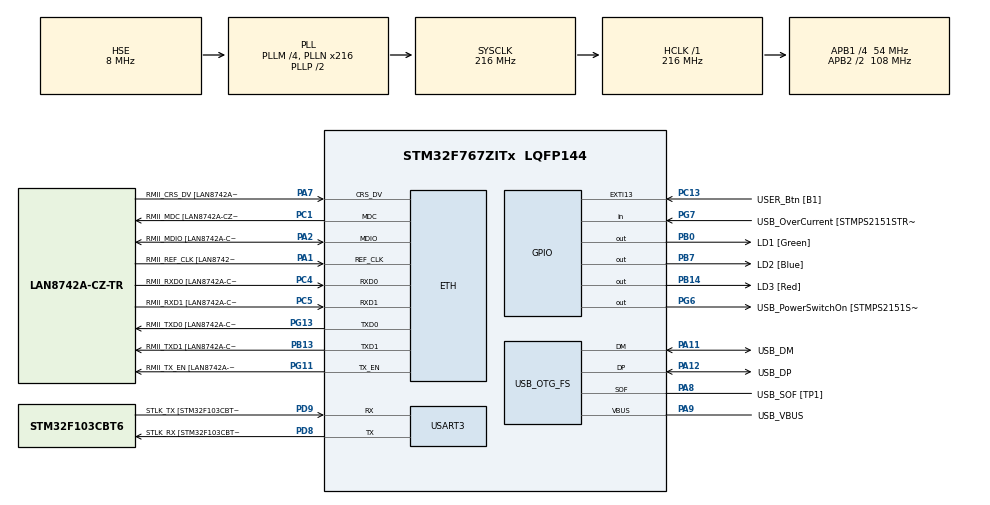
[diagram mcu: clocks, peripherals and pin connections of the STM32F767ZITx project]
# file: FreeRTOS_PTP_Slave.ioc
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Dma.Request0=USART3_RX
Dma.Request1=USART3_TX
Dma.USART3_RX.0.Direction=DMA_PERIPH_TO_MEMORY
Dma.USART3_RX.0.FIFOMode=DMA_FIFOMODE_DISABLE
Dma.USART3_RX.0.Instance=DMA1_Stream1
Dma.USART3_RX.0.MemDataAlignment=DMA_MDATAALIGN_BYTE
Dma.USART3_RX.0.MemInc=DMA_MINC_ENABLE
Dma.USART3_RX.0.Mode=DMA_NORMAL
Dma.USART3_RX.0.PeriphDataAlignment=DMA_PDATAALIGN_BYTE
Dma.USART3_RX.0.PeriphInc=DMA_PINC_DISABLE
Dma.USART3_RX.0.Priority=DMA_PRIORITY_LOW
Dma.USART3_TX.1.Direction=DMA_MEMORY_TO_PERIPH
Dma.USART3_TX.1.FIFOMode=DMA_FIFOMODE_DISABLE
Dma.USART3_TX.1.Instance=DMA1_Stream3
Dma.USART3_TX.1.MemDataAlignment=DMA_MDATAALIGN_BYTE
Dma.USART3_TX.1.MemInc=DMA_MINC_ENABLE
Dma.USART3_TX.1.Mode=DMA_NORMAL
Dma.USART3_TX.1.PeriphDataAlignment=DMA_PDATAALIGN_BYTE
Dma.USART3_TX.1.PeriphInc=DMA_PINC_DISABLE
Dma.USART3_TX.1.Priority=DMA_PRIORITY_LOW
ETH.ETH_RX_DESC_CNT=16
ETH.ETH_TX_DESC_CNT=4
ETH.MediaInterface=HAL_ETH_RMII_MODE
FREERTOS.Tasks01=PTP_Task,41,1024,StartPTPTask,Default,NULL,Dynamic,NULL,NULL;Log_Task,8,1024,StartLogTask,Default,NULL,Dynamic,NULL,NULL
FREERTOS.configCHECK_FOR_STACK_OVERFLOW=2
FREERTOS.configTOTAL_HEAP_SIZE=65536
FREERTOS.configUSE_NEWLIB_REENTRANT=1
Mcu.Family=STM32F7
Mcu.Name=STM32F767ZITx
Mcu.Package=LQFP144
NVIC.DMA1_Stream1_IRQn=true\:5\:0\:false\:false\:true\:true\:false\:true\:true
NVIC.DMA1_Stream3_IRQn=true\:5\:0\:false\:false\:true\:true\:false\:true\:true
NVIC.ETH_IRQn=true\:5\:0\:false\:false\:true\:true\:true\:true\:true
NVIC.PriorityGroup=NVIC_PRIORITYGROUP_4
NVIC.TIM6_DAC_IRQn=true\:15\:0\:false\:false\:true\:false\:false\:true\:true
NVIC.TimeBase=TIM6_DAC_IRQn
NVIC.TimeBaseIP=TIM6
PA1.GPIO_Label=RMII_REF_CLK [LAN8742A-CZ-TR_REFCLK0]
PA1.Mode=RMII
PA1.Signal=ETH_REF_CLK
PA10.GPIO_Label=USB_ID
PA10.Signal=USB_OTG_FS_ID
PA11.GPIO_Label=USB_DM
PA11.Mode=Device_Only
PA11.Signal=USB_OTG_FS_DM
PA12.GPIO_Label=USB_DP
PA12.Mode=Device_Only
PA12.Signal=USB_OTG_FS_DP
PA13.GPIO_Label=TMS
PA13.Mode=Serial_Wire
PA13.Signal=SYS_JTMS-SWDIO
PA14.GPIO_Label=TCK
PA14.Mode=Serial_Wire
PA14.Signal=SYS_JTCK-SWCLK
PA2.GPIO_Label=RMII_MDIO [LAN8742A-CZ-TR_MDIO]
PA2.Mode=RMII
PA2.Signal=ETH_MDIO
PA7.GPIO_Label=RMII_CRS_DV [LAN8742A-CZ-TR_CRS_DV]
PA7.Mode=RMII
PA7.Signal=ETH_CRS_DV
PA8.GPIO_Label=USB_SOF [TP1]
PA8.Mode=Activate_SOF_FS
PA8.Signal=USB_OTG_FS_SOF
PA9.GPIO_Label=USB_VBUS
PA9.Mode=Activate_VBUS
PA9.Signal=USB_OTG_FS_VBUS
PB0.GPIO_Label=LD1 [Green]
PB0.Signal=GPIO_Output
PB13.GPIO_Label=RMII_TXD1 [LAN8742A-CZ-TR_TXD1]
PB13.Mode=RMII
PB13.Signal=ETH_TXD1
PB14.GPIO_Label=LD3 [Red]
PB14.Signal=GPIO_Output
PB3.GPIO_Label=SWO
PB3.Signal=SYS_JTDO-SWO
PB5.Signal=ETH_PPS_OUT
PB7.GPIO_Label=LD2 [Blue]
PB7.Signal=GPIO_Output
PC1.GPIO_Label=RMII_MDC [LAN8742A-CZ-TR_MDC]
PC1.Mode=RMII
PC1.Signal=ETH_MDC
PC13.GPIO_Label=USER_Btn [B1]
PC13.Signal=GPXTI13
PC14/OSC32_IN.Mode=LSE-External-Oscillator
PC14/OSC32_IN.Signal=RCC_OSC32_IN
PC15/OSC32_OUT.Mode=LSE-External-Oscillator
PC15/OSC32_OUT.Signal=RCC_OSC32_OUT
PC4.GPIO_Label=RMII_RXD0 [LAN8742A-CZ-TR_RXD0]
PC4.Mode=RMII
PC4.Signal=ETH_RXD0
PC5.GPIO_Label=RMII_RXD1 [LAN8742A-CZ-TR_RXD1]
PC5.Mode=RMII
PC5.Signal=ETH_RXD1
PD8.GPIO_Label=STLK_RX [STM32F103CBT6_PA3]
PD8.Mode=Asynchronous
PD8.Signal=USART3_TX
PD9.GPIO_Label=STLK_TX [STM32F103CBT6_PA2]
PD9.Mode=Asynchronous
PD9.Signal=USART3_RX
PG11.GPIO_Label=RMII_TX_EN [LAN8742A-CZ-TR_TXEN]
PG11.Mode=RMII
PG11.Signal=ETH_TX_EN
PG13.GPIO_Label=RMII_TXD0 [LAN8742A-CZ-TR_TXD0]
PG13.Mode=RMII
PG13.Signal=ETH_TXD0
PG6.GPIO_Label=USB_PowerSwitchOn [STMPS2151STR_EN]
PG6.Signal=GPIO_Output
PG7.GPIO_Label=USB_OverCurrent [STMPS2151STR_FAULT]
PG7.Signal=GPIO_Input
PH0/OSC_IN.GPIO_Label=MCO [STM32F103CBT6_PA8]
PH0/OSC_IN.Mode=HSE-External-Clock-Source
PH0/OSC_IN.Signal=RCC_OSC_IN
PH1/OSC_OUT.Mode=HSE-External-Clock-Source
PH1/OSC_OUT.Signal=RCC_OSC_OUT
ProjectManager.HeapSize=0x200
ProjectManager.StackSize=0x400
ProjectManager.TargetToolchain=STM32CubeIDE
RCC.48MHZClocksFreq_Value=24000000
RCC.AHBFreq_Value=216000000
RCC.APB1CLKDivider=RCC_HCLK_DIV4
RCC.APB1Freq_Value=54000000
RCC.APB1TimFreq_Value=108000000
RCC.APB2CLKDivider=RCC_HCLK_DIV2
RCC.APB2Freq_Value=108000000
RCC.APB2TimFreq_Value=216000000
RCC.CortexFreq_Value=216000000
RCC.HCLKFreq_Value=216000000
RCC.HSE_VALUE=8000000
RCC.HSI_VALUE=16000000
RCC.PLLM=4
RCC.PLLMUL=RCC_PLL_MUL9
RCC.PLLN=216
RCC.PLLQ=9
RCC.PRESCALERUSB=RCC_USBCLKSOURCE_PLL_DIV1_5
RCC.SYSCLKFreq_VALUE=216000000
RCC.SYSCLKSource=RCC_SYSCLKSOURCE_PLLCLK
RCC.SYSCLKSourceVirtual=RCC_SYSCLKSOURCE_PLLCLK
RCC.USBFreq_Value=48000000
RCC.VCOOutputFreq_Value=432000000
USART3.VirtualMode-Asynchronous=VM_ASYNC
USB_OTG_FS.VirtualMode=Device_Only
VP_FREERTOS_VS_CMSIS_V2.Mode=CMSIS_V2
VP_SYS_VS_tim6.Mode=TIM6
board=NUCLEO-F767ZI

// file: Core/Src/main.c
/* USER CODE BEGIN Header */
/**
  ******************************************************************************
  * @file           : main.c
  * @brief          : Main program body
  ******************************************************************************
  * @attention
  *
  * Copyright (c) 2026 STMicroelectronics.
  * All rights reserved.
  *
  * This software is licensed under terms that can be found in the LICENSE file
  * in the root directory of this software component.
  * If no LICENSE file comes with this software, it is provided AS-IS.
  *
  ******************************************************************************
  */
/* USER CODE END Header */
#include "main.h"
#include "string.h"
#include "cmsis_os.h"

/* USER CODE BEGIN Includes */
#include <stdio.h>
#include "FreeRTOS.h"
#include "task.h"
/* USER CODE END Includes */

/* USER CODE BEGIN PTD */
typedef struct
{
    uint8_t  pending;
    uint16_t seq_id;
    uint32_t sec;
    uint32_t nsec;
} PTP_RxTimestampEvent;

typedef struct
{
    uint8_t  pending;
    uint16_t seq_id;
    uint32_t sec;
    uint32_t nsec;
} PTP_FollowUpEvent;

typedef struct
{
    uint8_t  pending;
    uint16_t seq_id;
    uint32_t sec;
    uint32_t nsec;
    uint8_t  requesting_port_identity[10];
} PTP_DelayRespEvent;
/* USER CODE END PTD */

/* USER CODE BEGIN PD */
//#define SLAVE_ID_LAST_BYTE                  0x00U //Slave 1
#define SLAVE_ID_LAST_BYTE                  0x02U //Slave 2
//don't use 01 for slave. It is master's number

#define PTP_SYNC                               0U
#define PTP_DELAY_REQ                          1U
#define PTP_FOLLOW_UP                          8U
#define PTP_DELAY_RESP                         9U

#define ETH_RX_BUFFER_SIZE                     1524U
#define PTP_WAIT_LOOP                          1000000UL

#define PTP_HCLK_HZ                            216000000ULL
#define PTP_SUBSEC_INCREMENT_NS                5ULL
#define PTP_ENABLE_FINE_MODE                   1U

#define PTP_NS_PER_SEC                         1000000000ULL
#define PTP_SUBSEC_PER_SEC                     0x80000000ULL

/*
 * Coarse phase correction:
 * keep a rare bounded time step only for clearly abnormal offsets.
 * Fine locking is handled by the PI controller through addend.
 */
#define PTP_PHASE_COARSE_ENTER_NS        20000000LL   /* 20 ms */
#define PTP_PHASE_COARSE_EXIT_NS          2000000LL   /* 2 ms */
#define PTP_PHASE_HARD_STEP_LIMIT_NS      5000000LL   /* 5 ms */
#define PTP_PHASE_HOLDOFF_CYCLES                2U

/*
 * PI servo is tuned for Sync/Delay cycle ~250 ms.
 * If you later change Sync period significantly, retune KP/KI.
 *
 * Output is expressed in ppb and converted into addend target:
 *   target_addend = default_addend * (1 + control_ppb / 1e9)
 */
#define PTP_PI_NOMINAL_CYCLE_NS           125000000LL   /* 125 ms */
#define PTP_PI_OFFSET_DEADBAND_NS                30LL

#define PTP_PI_KP_NUM                            1LL
#define PTP_PI_KP_DEN                           40LL      /* 0.025 ppb/ns */

#define PTP_PI_KI_NUM                            1LL
#define PTP_PI_KI_DEN                         2500LL      /* 0.0005 ppb/ns/sample */

#define PTP_PI_INTEGRAL_LIMIT_PPB           40000LL
#define PTP_PI_OUTPUT_LIMIT_PPB             50000LL

#define PTP_PI_FRAC_BITS                       10U
#define PTP_PI_SCALE                           (1LL << PTP_PI_FRAC_BITS)   /* 1024 */

#define PTP_FREQ_MIN_CYCLE_NS              100000000LL
#define PTP_FREQ_ADDEND_STEP_MAX               2000LL
#define PTP_FREQ_ADDEND_OFFSET_MAX          1000000LL

/*
 * Fine phase capture:
 * when frequency is already close to lock, but a small residual phase error
 * remains for several cycles, apply a tiny time update to pull phase to zero.
 */
#define PTP_ENABLE_FINE_PHASE_CAPTURE          0U
#define PTP_FINE_PHASE_LOCK_PPB               200LL
#define PTP_FINE_PHASE_CAPTURE_THRESHOLD_NS   800LL
#define PTP_FINE_PHASE_CAPTURE_CLEAR_NS       250LL
#define PTP_FINE_PHASE_CAPTURE_MAX_NS        3000LL
#define PTP_FINE_PHASE_CAPTURE_CYCLES          20U
#define PTP_FINE_PHASE_CAPTURE_NUM              1LL
#define PTP_FINE_PHASE_CAPTURE_DEN              4LL
#define PTP_FINE_PHASE_CAPTURE_LIMIT_NS        75LL
#define PTP_FINE_PHASE_HOLDOFF_CYCLES          48U

#define PTP_STATIC_OFFSET_BIAS_NS   0LL

/*
 * Reject bad measurement samples before they affect the servo.
 * These thresholds are intentionally conservative for the current direct-link setup.
 */
//For SINGLECAST
//#define PTP_REJECT_MPD_MIN_NS                -500LL
//#define PTP_REJECT_MPD_MAX_NS                1000LL
//For MULTICAST
#define PTP_REJECT_MPD_MIN_NS                6000LL
#define PTP_REJECT_MPD_MAX_NS                10000LL

#define PTP_REJECT_FINE_OFFSET_ABS_NS     3000000LL   /* 3 ms */
#define PTP_REJECT_FINE_OFFSET_DELTA_NS    200000LL   /* 200 us jump vs previous good sample */

#define PTP_CONSECUTIVE_REJECT_LIMIT          64U

#define PTP_DELAYREQ_TIMEOUT_MS              100U

#define APP_CPU_LOAD_ENABLE              0U

/*
 * Safe artificial CPU load.
 * This is NOT exact percent load.
 * It performs a bounded amount of dummy work every N milliseconds.
 *
 * Start with 100 or 200.
 * Then test 500, 1000, 2000, etc.
 */
#define APP_CPU_LOAD_PERIOD_MS           1U
#define APP_CPU_LOAD_WORK_ITERATIONS     1U

/* USER CODE END PD */

#if defined ( __ICCARM__ ) /*!< IAR Compiler */
#pragma location=0x2007c000
ETH_DMADescTypeDef  DMARxDscrTab[ETH_RX_DESC_CNT]; /* Ethernet Rx DMA Descriptors */
#pragma location=0x2007c0a0
ETH_DMADescTypeDef  DMATxDscrTab[ETH_TX_DESC_CNT]; /* Ethernet Tx DMA Descriptors */

#elif defined ( __CC_ARM )  /* MDK ARM Compiler */

__attribute__((at(0x2007c000))) ETH_DMADescTypeDef  DMARxDscrTab[ETH_RX_DESC_CNT]; /* Ethernet Rx DMA Descriptors */
__attribute__((at(0x2007c0a0))) ETH_DMADescTypeDef  DMATxDscrTab[ETH_TX_DESC_CNT]; /* Ethernet Tx DMA Descriptors */

#elif defined ( __GNUC__ ) /* GNU Compiler */

ETH_DMADescTypeDef DMARxDscrTab[ETH_RX_DESC_CNT] __attribute__((section(".RxDecripSection"))); /* Ethernet Rx DMA Descriptors */
ETH_DMADescTypeDef DMATxDscrTab[ETH_TX_DESC_CNT] __attribute__((section(".TxDecripSection")));   /* Ethernet Tx DMA Descriptors */
#endif

ETH_TxPacketConfig TxConfig;

ETH_HandleTypeDef heth;

UART_HandleTypeDef huart3;
DMA_HandleTypeDef hdma_usart3_rx;
DMA_HandleTypeDef hdma_usart3_tx;

PCD_HandleTypeDef hpcd_USB_OTG_FS;

/* Definitions for PTP_Task */
osThreadId_t PTP_TaskHandle;
const osThreadAttr_t PTP_Task_attributes = {
  .name = "PTP_Task",
  .stack_size = 1024 * 4,
  .priority = (osPriority_t) osPriorityHigh1,
};
/* Definitions for Log_Task */
osThreadId_t Log_TaskHandle;
const osThreadAttr_t Log_Task_attributes = {
  .name = "Log_Task",
  .stack_size = 1024 * 4,
  .priority = (osPriority_t) osPriorityLow,
};
/* USER CODE BEGIN PV */
uint8_t Rx_Buff[ETH_RX_DESC_CNT][ETH_RX_BUFFER_SIZE];
uint8_t delay_req_frame[58];

static const uint8_t g_slave_mac[6] =
{
    0x00, 0x80, 0xE1, 0x00, 0x00, SLAVE_ID_LAST_BYTE
};

static const uint8_t g_ptp_multicast_mac[6] =
{
    0x01, 0x1B, 0x19, 0x00, 0x00, 0x00
};

static const uint8_t g_slave_port_identity[10] =
{
    0x00, 0x80, 0xE1, 0xFF, 0xFE, 0x00, 0x00, SLAVE_ID_LAST_BYTE,
    0x00, 0x01
};

volatile uint32_t sec;
volatile uint32_t nsec;

volatile uint8_t  ptp_synced = 0U;
volatile uint8_t  sync_received = 0U;
volatile uint8_t  delayreq_pending = 0U;
volatile uint8_t  delayreq_tx_ts_waiting = 0U;
volatile uint8_t  ptp_request_delayreq = 0U;

volatile uint32_t ptp_delayreq_sent_ms = 0U;
volatile uint32_t ptp_delayreq_timeout_count = 0U;
volatile uint32_t ptp_delayresp_ignored_count = 0U;

volatile uint16_t sync_seq_id = 0U;
volatile uint16_t delayreq_seq_id = 0U;

volatile uint32_t follow_sec = 0U;
volatile uint32_t follow_nsec = 0U;
volatile uint32_t sync_rx_sec = 0U;
volatile uint32_t sync_rx_nsec = 0U;
volatile uint32_t tx_t3_sec = 0U;
volatile uint32_t tx_t3_nsec = 0U;
volatile uint32_t resp_t4_sec = 0U;
volatile uint32_t resp_t4_nsec = 0U;

volatile uint16_t delayreq_ref_sync_seq_id = 0U;
volatile uint32_t delayreq_ref_t1_sec = 0U;
volatile uint32_t delayreq_ref_t1_nsec = 0U;
volatile uint32_t delayreq_ref_t2_sec = 0U;
volatile uint32_t delayreq_ref_t2_nsec = 0U;

volatile int64_t t1 = 0;
volatile int64_t t2 = 0;
volatile int64_t t3 = 0;
volatile int64_t t4 = 0;

volatile int64_t delta_sync = 0;
volatile int64_t delta_delay = 0;
volatile int64_t mean_path_delay = 0;
volatile int64_t ptp_offset_e2e = 0;
volatile int64_t ptp_offset = 0;
volatile int32_t ptp_offset_ns = 0;
volatile int64_t offset_avg = 0; /* reused as filtered offset for PI */

volatile uint32_t delayresp_count = 0U;
volatile uint32_t tx_ts_seen = 0U;
volatile uint32_t sync_rx_ts_valid_count = 0U;

volatile uint32_t ptp_default_addend = 0U;
volatile uint32_t ptp_current_addend = 0U;
volatile uint32_t ptp_addend_update_count = 0U;
volatile uint32_t ptp_reg_timeout_count = 0U;
volatile uint32_t ptp_tx_req_fail_count = 0U;
volatile int64_t  ptp_last_update_ns = 0;

volatile PTP_RxTimestampEvent g_sync_evt = {0};
volatile PTP_FollowUpEvent    g_follow_evt = {0};
volatile PTP_DelayRespEvent   g_delayresp_evt = {0};

static uint32_t delayreq_tx_desc_idx = 0U;

volatile uint8_t  ptp_freq_servo_locked = 0U;

volatile int64_t  ptp_master_time_prev = 0;
volatile int64_t  ptp_slave_time_prev  = 0;
volatile int64_t  ptp_master_count     = 0;
volatile int64_t  ptp_slave_count      = 0;
volatile int64_t  ptp_clock_diff       = 0;
volatile int64_t  ptp_freq_err_ppb     = 0;
volatile int64_t  ptp_last_addend_step = 0;

volatile int64_t  ptp_pi_integral_ppb  = 0;
volatile int64_t  ptp_pi_prop_ppb      = 0;
volatile int64_t  ptp_pi_output_ppb    = 0;
volatile int64_t  ptp_pi_integral_scaled = 0;

volatile uint32_t ptp_freq_update_count = 0U;
volatile uint32_t ptp_phase_step_count  = 0U;
volatile uint8_t  ptp_phase_holdoff     = 0U;
volatile uint8_t  ptp_coarse_mode      = 1U;

volatile uint8_t  ptp_phase_capture_count      = 0U;
volatile uint32_t ptp_phase_capture_step_count = 0U;

static char ptp_log_buf[448];
static uint32_t ptp_last_logged_delayresp = 0U;

volatile int64_t  ptp_raw_offset_e2e           = 0;
volatile int64_t  ptp_last_good_raw_offset_e2e = 0;
volatile uint8_t  ptp_have_good_sample         = 0U;

volatile uint8_t  ptp_last_sample_rejected     = 0U;
volatile uint32_t ptp_rejected_sample_count    = 0U;
volatile uint32_t ptp_reject_mpd_count         = 0U;
volatile uint32_t ptp_reject_abs_offset_count  = 0U;
volatile uint32_t ptp_reject_jump_count        = 0U;

volatile uint32_t ptp_consecutive_reject_count = 0U;
volatile uint32_t ptp_resync_count = 0U;

volatile uint32_t app_cpu_load_run_count = 0U;
volatile uint32_t app_cpu_load_sink = 0U;

static uint32_t app_cpu_load_last_ms = 0U;
/* USER CODE END PV */

void SystemClock_Config(void);
static void MX_GPIO_Init(void);
static void MX_DMA_Init(void);
static void MX_ETH_Init(void);
static void MX_USART3_UART_Init(void);
static void MX_USB_OTG_FS_PCD_Init(void);
void StartPTPTask(void *argument);
void StartLogTask(void *argument);

/* USER CODE BEGIN PFP */
static void PTP_HW_Init(void);
static void PTP_Process(void);
static void PTP_SendDelayReq(void);
static void PTP_BuildDelayReqFrame(uint8_t *frame, uint16_t seq_id);
static uint8_t PTP_WaitRegBitClear(volatile uint32_t *reg, uint32_t mask, uint32_t loops);
static uint32_t PTP_NsToSubsec(uint32_t ns_val);
static uint32_t PTP_UpdateLowFromNs(uint32_t ns_val, uint8_t negative);
static uint32_t PTP_CalcDefaultAddend(void);
static uint8_t PTP_ApplyAddend(uint32_t addend);
static uint8_t PTP_ApplyTimeInitialize(uint32_t sec_val, uint32_t nsec_val);
static uint8_t PTP_ApplyTimeUpdateNs(int64_t corr_ns);
static uint32_t PTP_ParseSecondsLow32(const uint8_t *ts);
static uint32_t PTP_ParseNanoseconds(const uint8_t *ts);
static int64_t  PTP_ToNs(uint32_t sec_val, uint32_t nsec_val);
static void PTP_ServoReset(void);
static int64_t  PTP_Abs64(int64_t v);
static uint8_t  PTP_ApplyAddendFiltered(int64_t delta_addend);
static void PTP_UpdateFrequencyServo(int64_t master_time_now, int64_t slave_time_now);
static void PTP_FineServoRearm(void);
static int64_t  PTP_ScaledToPpb(int64_t scaled_ppb);
static void PTP_LogSampleIfReady(void);
static void PTP_CheckDelayReqTimeout(void);
static void PTP_HandleRxFrame(ETH_HandleTypeDef *heth_local, uint8_t *buf);
static void PTP_ForceResync(void);
static void ETH_SetMacAddressFilter1(const uint8_t *mac);

static void APP_RunCpuLoad(void);
/* USER CODE END PFP */

/* USER CODE BEGIN 0 */

static void PTP_ForceResync(void)
{
    __disable_irq();
    g_sync_evt.pending = 0U;
    g_follow_evt.pending = 0U;
    g_delayresp_evt.pending = 0U;
    __enable_irq();

    ptp_synced = 0U;
    sync_received = 0U;

    delayreq_pending = 0U;
    delayreq_tx_ts_waiting = 0U;
    ptp_request_delayreq = 0U;

    ptp_delayreq_sent_ms = 0U;

    tx_t3_sec = 0U;
    tx_t3_nsec = 0U;

    delayreq_ref_sync_seq_id = 0U;
    delayreq_ref_t1_sec = 0U;
    delayreq_ref_t1_nsec = 0U;
    delayreq_ref_t2_sec = 0U;
    delayreq_ref_t2_nsec = 0U;

    offset_avg = 0;
    ptp_coarse_mode = 1U;

    PTP_ServoReset();

    ptp_consecutive_reject_count = 0U;
    ptp_resync_count++;
}

static void PTP_CheckDelayReqTimeout(void)
{
    if (delayreq_pending == 0U)
    {
        return;
    }

    if ((uint32_t)(HAL_GetTick() - ptp_delayreq_sent_ms) < PTP_DELAYREQ_TIMEOUT_MS)
    {
        return;
    }

    /*
     * Delay_Req was sent, but matching Delay_Resp did not arrive in time.
     * Drop this exchange and wait for the next Sync/Follow_Up cycle.
     */
    delayreq_pending = 0U;
    delayreq_tx_ts_waiting = 0U;
    ptp_request_delayreq = 0U;

    tx_t3_sec = 0U;
    tx_t3_nsec = 0U;

    delayreq_ref_sync_seq_id = 0U;
    delayreq_ref_t1_sec = 0U;
    delayreq_ref_t1_nsec = 0U;
    delayreq_ref_t2_sec = 0U;
    delayreq_ref_t2_nsec = 0U;

    ptp_delayreq_timeout_count++;
}

static uint8_t PTP_WaitRegBitClear(volatile uint32_t *reg, uint32_t mask, uint32_t loops)
{
    while (((*reg) & mask) != 0U)
    {
        if (loops-- == 0U)
        {
            ptp_reg_timeout_count++;
            return 0U;
        }
    }
    return 1U;
}

static uint32_t PTP_NsToSubsec(uint32_t ns_val)
{
    uint64_t tmp;

    if (ns_val >= 1000000000UL)
    {
        ns_val = 999999999UL;
    }

    tmp = ((uint64_t)ns_val * PTP_SUBSEC_PER_SEC + (PTP_NS_PER_SEC / 2ULL)) / PTP_NS_PER_SEC;
    if (tmp > 0x7FFFFFFFULL)
    {
        tmp = 0x7FFFFFFFULL;
    }

    return (uint32_t)tmp;
}

static uint32_t PTP_UpdateLowFromNs(uint32_t ns_val, uint8_t negative)
{
    uint32_t low = PTP_NsToSubsec(ns_val) & 0x7FFFFFFFUL;

    if (negative != 0U)
    {
        low |= 0x80000000UL;
    }

    return low;
}

static uint32_t PTP_CalcDefaultAddend(void)
{
    const uint64_t num = (1ULL << 32) * 1000000000ULL;
    const uint64_t den = PTP_HCLK_HZ * PTP_SUBSEC_INCREMENT_NS;
    return (uint32_t)(num / den);
}

static uint8_t PTP_ApplyAddend(uint32_t addend)
{
    if (!PTP_WaitRegBitClear(&ETH->PTPTSCR, ETH_PTPTSCR_TSARU, PTP_WAIT_LOOP))
    {
        return 0U;
    }

    ETH->PTPTSAR = addend;
    ETH->PTPTSCR |= ETH_PTPTSCR_TSARU;

    if (!PTP_WaitRegBitClear(&ETH->PTPTSCR, ETH_PTPTSCR_TSARU, PTP_WAIT_LOOP))
    {
        return 0U;
    }

    ptp_current_addend = addend;
    ptp_addend_update_count++;
    return 1U;
}

static uint8_t PTP_ApplyTimeInitialize(uint32_t sec_val, uint32_t nsec_val)
{
    uint32_t low;

    if (!PTP_WaitRegBitClear(&ETH->PTPTSCR, ETH_PTPTSCR_TSSTI | ETH_PTPTSCR_TSSTU, PTP_WAIT_LOOP))
    {
        return 0U;
    }

    low = PTP_UpdateLowFromNs(nsec_val, 0U);

    ETH->PTPTSHUR = sec_val;
    ETH->PTPTSLUR = low;
    ptp_last_update_ns = 0;

    ETH->PTPTSCR |= ETH_PTPTSCR_TSSTI;

    return PTP_WaitRegBitClear(&ETH->PTPTSCR, ETH_PTPTSCR_TSSTI, PTP_WAIT_LOOP);
}

static uint8_t PTP_ApplyTimeUpdateNs(int64_t corr_ns)
{
    uint32_t sec_upd;
    uint32_t nsec_mag;
    uint8_t negative;
    uint32_t low;

    if (corr_ns == 0)
    {
        return 1U;
    }

    if (!PTP_WaitRegBitClear(&ETH->PTPTSCR, ETH_PTPTSCR_TSSTI | ETH_PTPTSCR_TSSTU, PTP_WAIT_LOOP))
    {
        return 0U;
    }

    sec_upd = 0U;
    nsec_mag = 0U;
    negative = 0U;

    if (corr_ns < 0)
    {
        int64_t mag = -corr_ns;
        sec_upd  = (uint32_t)(mag / 1000000000LL);
        nsec_mag = (uint32_t)(mag % 1000000000LL);
        negative = 1U;
    }
    else
    {
        sec_upd  = (uint32_t)(corr_ns / 1000000000LL);
        nsec_mag = (uint32_t)(corr_ns % 1000000000LL);
    }

    low = PTP_UpdateLowFromNs(nsec_mag, negative);

    ETH->PTPTSHUR = sec_upd;
    ETH->PTPTSLUR = low;
    ptp_last_update_ns = corr_ns;

    ETH->PTPTSCR |= ETH_PTPTSCR_TSSTU;

    return PTP_WaitRegBitClear(&ETH->PTPTSCR, ETH_PTPTSCR_TSSTU, PTP_WAIT_LOOP);
}

static int64_t PTP_ToNs(uint32_t sec_val, uint32_t nsec_val)
{
    return ((int64_t)sec_val * 1000000000LL) + (int64_t)nsec_val;
}

static uint32_t PTP_ParseSecondsLow32(const uint8_t *ts)
{
    return ((uint32_t)ts[2] << 24) |
           ((uint32_t)ts[3] << 16) |
           ((uint32_t)ts[4] << 8)  |
           ((uint32_t)ts[5]);
}

static uint32_t PTP_ParseNanoseconds(const uint8_t *ts)
{
    return ((uint32_t)ts[6] << 24) |
           ((uint32_t)ts[7] << 16) |
           ((uint32_t)ts[8] << 8)  |
           ((uint32_t)ts[9]);
}

static void ETH_SetMacAddressFilter1(const uint8_t *mac)
{
    /*
     * MAC address filter slot 1.
     * Address byte order follows STM32 ETH MACA register layout:
     * MACA1LR = bytes 0..3
     * MACA1HR = bytes 4..5 + AE bit
     */
    ETH->MACA1LR =
        ((uint32_t)mac[0])       |
        ((uint32_t)mac[1] << 8)  |
        ((uint32_t)mac[2] << 16) |
        ((uint32_t)mac[3] << 24);

    ETH->MACA1HR =
        ((uint32_t)mac[4])      |
        ((uint32_t)mac[5] << 8) |
        (1UL << 31);            /* AE: address enable */
}

static void PTP_HW_Init(void)
{
    uint32_t ptptscr = 0U;

    //ETH->MACFFR |= ETH_MACFFR_RA | ETH_MACFFR_PM;
    //ETH->MACFFR &= ~(ETH_MACFFR_RA | ETH_MACFFR_PM);
    //ETH->MACFFR |= ETH_MACFFR_PAM;
    ETH->MACFFR &= ~(ETH_MACFFR_RA | ETH_MACFFR_PM | ETH_MACFFR_PAM);
    ETH_SetMacAddressFilter1(g_ptp_multicast_mac);

    ETH->MACIMR |= (1UL << 9);
    ETH->PTPSSIR = (uint32_t)PTP_SUBSEC_INCREMENT_NS;

    ptptscr |= ETH_PTPTSCR_TSE;
    ptptscr |= ETH_PTPTSCR_TSPTPPSV2E;
    ptptscr |= ETH_PTPTSCR_TSSPTPOEFE;
    ptptscr |= ETH_PTPTSCR_TSSSR;
    ptptscr |= ETH_PTPTSCR_TSSARFE;
#if PTP_ENABLE_FINE_MODE
    ptptscr |= ETH_PTPTSCR_TSFCU;
#endif
    ETH->PTPTSCR = ptptscr;

    ptp_default_addend = PTP_CalcDefaultAddend();
    ptp_current_addend = ptp_default_addend;
#if PTP_ENABLE_FINE_MODE
    (void)PTP_ApplyAddend(ptp_default_addend);
#endif

    (void)PTP_ApplyTimeInitialize(0U, 0U);
}

static void PTP_BuildDelayReqFrame(uint8_t *frame, uint16_t seq_id)
{
    memset(frame, 0, 58U);

    frame[0]  = 0x01;
    frame[1]  = 0x1B;
    frame[2]  = 0x19;
    frame[3]  = 0x00;
    frame[4]  = 0x00;
    frame[5]  = 0x00;

    memcpy(&frame[6], g_slave_mac, 6U);

    frame[12] = 0x88;
    frame[13] = 0xF7;

    frame[14] = 0x01;
    frame[15] = 0x02;

    frame[16] = 0x00;
    frame[17] = 44U;

    frame[18] = 0x00;
    frame[19] = 0x00;

    frame[20] = 0x00;
    frame[21] = 0x00;

    memcpy(&frame[34], g_slave_port_identity, 10U);

    frame[44] = (uint8_t)((seq_id >> 8) & 0xFFU);
    frame[45] = (uint8_t)(seq_id & 0xFFU);

    frame[46] = 0x01;
    frame[47] = 0x7F;
}

static void PTP_SendDelayReq(void)
{
    ETH_BufferTypeDef txBuffer;
    ETH_DMADescTypeDef *txdesc;
    uint32_t *td;
    uint16_t seq;

    TxConfig.Attributes   = ETH_TX_PACKETS_FEATURES_CRCPAD;
    TxConfig.ChecksumCtrl = ETH_CHECKSUM_DISABLE;
    TxConfig.CRCPadCtrl   = ETH_CRC_PAD_INSERT;

    seq = ++delayreq_seq_id;
    PTP_BuildDelayReqFrame(delay_req_frame, seq);

    txBuffer.buffer = delay_req_frame;
    txBuffer.len    = sizeof(delay_req_frame);
    txBuffer.next   = NULL;

    TxConfig.Length   = sizeof(delay_req_frame);
    TxConfig.TxBuffer = &txBuffer;

    delayreq_tx_desc_idx = heth.TxDescList.CurTxDesc;
    txdesc = (ETH_DMADescTypeDef *)heth.TxDescList.TxDesc[delayreq_tx_desc_idx];
    td = (uint32_t *)txdesc;
    td[0] |= (1UL << 25);

    tx_t3_sec  = 0U;
    tx_t3_nsec = 0U;

    if (HAL_ETH_Transmit_IT(&heth, &TxConfig) == HAL_OK)
    {
        delayreq_pending = 1U;
        delayreq_tx_ts_waiting = 1U;
        ptp_delayreq_sent_ms = HAL_GetTick();
    }
    else
    {
        ptp_tx_req_fail_count++;
    }
}

static uint8_t PTP_TryReadTxTimestamp(void)
{
    ETH_DMADescTypeDef *txdesc;
    uint32_t *td;

    if (delayreq_tx_ts_waiting == 0U)
    {
        return 0U;
    }

    txdesc = (ETH_DMADescTypeDef *)heth.TxDescList.TxDesc[delayreq_tx_desc_idx];
    td = (uint32_t *)txdesc;

    if ((td[0] & (1UL << 31)) == 0U)
    {
        if ((td[0] & (1UL << 17)) != 0U)
        {
            tx_t3_nsec = td[6];
            tx_t3_sec  = td[7];
            tx_ts_seen++;
            delayreq_tx_ts_waiting = 0U;
            return 1U;
        }
    }

    return 0U;
}

static void PTP_Process(void)
{
    if (g_sync_evt.pending != 0U)
    {
        sync_seq_id   = g_sync_evt.seq_id;
        sync_rx_sec   = g_sync_evt.sec;
        sync_rx_nsec  = g_sync_evt.nsec;
        sync_received = 1U;
        g_sync_evt.pending = 0U;
    }

    if (g_follow_evt.pending != 0U)
    {
        follow_sec  = g_follow_evt.sec;
        follow_nsec = g_follow_evt.nsec;

        if ((g_follow_evt.seq_id == sync_seq_id) && (sync_received != 0U))
        {
            if (ptp_synced == 0U)
            {
                if (PTP_ApplyTimeInitialize(follow_sec, follow_nsec) != 0U)
                {
                    ptp_synced = 1U;
                    offset_avg = 0;
                    ptp_coarse_mode = 1U;
                    PTP_ServoReset();
                }
            }

            /*
             * Freeze the exact Sync/Follow_Up pair that will be used for the
             * upcoming Delay_Req exchange.
             *
             * This prevents a later Sync from overwriting t2 while we are still
             * waiting for the Delay_Resp of the previous exchange.
             */
            if ((ptp_synced != 0U) &&
                (delayreq_pending == 0U) &&
                (ptp_request_delayreq == 0U))
            {
                delayreq_ref_sync_seq_id = sync_seq_id;

                delayreq_ref_t1_sec  = follow_sec;
                delayreq_ref_t1_nsec = follow_nsec;

                delayreq_ref_t2_sec  = sync_rx_sec;
                delayreq_ref_t2_nsec = sync_rx_nsec;

                ptp_request_delayreq = 1U;
            }

            /*
             * This Sync/Follow_Up pair has been consumed.
             * A new Delay_Req must only use a new matched pair.
             */
            sync_received = 0U;
        }

        g_follow_evt.pending = 0U;
    }

    if ((ptp_request_delayreq != 0U) && (delayreq_pending == 0U))
    {
        ptp_request_delayreq = 0U;
        PTP_SendDelayReq();
    }

    if (g_delayresp_evt.pending != 0U)
    {
        resp_t4_sec  = g_delayresp_evt.sec;
        resp_t4_nsec = g_delayresp_evt.nsec;

        if ((delayreq_pending != 0U) &&
            (g_delayresp_evt.seq_id == delayreq_seq_id) &&
            (memcmp((const void *)g_delayresp_evt.requesting_port_identity,
                    g_slave_port_identity,
                    10U) == 0))
        {
            delayresp_count++;
            delayreq_pending = 0U;
            ptp_delayreq_sent_ms = 0U;

            if (((tx_t3_sec != 0U) || (tx_t3_nsec != 0U)) && (delayreq_tx_ts_waiting == 0U))
            {
                int64_t master_time_now;
                int64_t slave_time_now;
                int64_t corr;
                int64_t raw_offset_e2e;

                t1 = PTP_ToNs(delayreq_ref_t1_sec, delayreq_ref_t1_nsec);
                t2 = PTP_ToNs(delayreq_ref_t2_sec, delayreq_ref_t2_nsec);
                t3 = PTP_ToNs(tx_t3_sec, tx_t3_nsec);
                t4 = PTP_ToNs(resp_t4_sec, resp_t4_nsec);

                delta_sync  = t2 - t1;
                delta_delay = t4 - t3;

                mean_path_delay = ((t2 - t1) + (t4 - t3)) / 2LL;
                raw_offset_e2e  = ((t2 - t1) - (t4 - t3)) / 2LL;
                ptp_raw_offset_e2e = raw_offset_e2e;
                ptp_last_sample_rejected = 0U;

                {
                    uint8_t reject_sample = 0U;
                    int64_t abs_raw_offset = PTP_Abs64(raw_offset_e2e);

                    /* 1) Reject impossible path delay values */
                    if ((mean_path_delay < PTP_REJECT_MPD_MIN_NS) ||
                        (mean_path_delay > PTP_REJECT_MPD_MAX_NS))
                    {
                        reject_sample = 1U;
                        ptp_reject_mpd_count++;
                    }
                    /*
                     * 2) In fine mode, reject absurd samples only while they are still inside
                     * the fine-regime envelope. If the offset is large enough to justify coarse
                     * re-entry, do NOT reject it here — let the hysteresis logic handle it.
                     */
                    else if ((ptp_coarse_mode == 0U) &&
                             (abs_raw_offset > PTP_REJECT_FINE_OFFSET_ABS_NS))
                    {
                        reject_sample = 1U;
                        ptp_reject_abs_offset_count++;
                    }
                    /*
                     * 3) Same for sudden jumps vs previous accepted sample:
                     * only reject while still below the coarse re-entry threshold.
                     */
                    else if ((ptp_coarse_mode == 0U) &&
                             (ptp_have_good_sample != 0U) &&
                             (PTP_Abs64(raw_offset_e2e - ptp_last_good_raw_offset_e2e) > PTP_REJECT_FINE_OFFSET_DELTA_NS))
                    {
                        reject_sample = 1U;
                        ptp_reject_jump_count++;
                    }

                    if (reject_sample != 0U)
                    {
                        ptp_rejected_sample_count++;
                        ptp_last_sample_rejected = 1U;

                        if (ptp_consecutive_reject_count < 0xFFFFFFFFUL)
                        {
                            ptp_consecutive_reject_count++;
                        }

                        if (ptp_consecutive_reject_count >= PTP_CONSECUTIVE_REJECT_LIMIT)
                        {
                            PTP_ForceResync();

                            /*
                             * PTP_ForceResync() calls PTP_ServoReset(), which clears this flag.
                             * Restore it so the current logged sample still shows rejection.
                             */
                            ptp_last_sample_rejected = 1U;
                        }

                        g_delayresp_evt.pending = 0U;
                        return;
                    }
                }

                ptp_last_good_raw_offset_e2e = raw_offset_e2e;
                ptp_have_good_sample = 1U;

                ptp_consecutive_reject_count = 0U;

                ptp_offset_e2e = raw_offset_e2e + PTP_STATIC_OFFSET_BIAS_NS;
                ptp_offset     = ptp_offset_e2e;
                ptp_offset_ns  = (int32_t)ptp_offset_e2e;

                /* filtered offset used by PI servo and preserved in logs */
                offset_avg = (offset_avg * 7LL + ptp_offset_e2e) / 8LL;

                master_time_now = t1 + mean_path_delay;
                slave_time_now  = t2;

                /* Rare bounded hard step only for clearly abnormal phase errors. */
                {
                    int64_t abs_offset = PTP_Abs64(ptp_offset_e2e);

                    /* hysteresis for coarse/fine handoff */
                    if (ptp_coarse_mode == 0U)
                    {
                        if (abs_offset > PTP_PHASE_COARSE_ENTER_NS)
                        {
                            ptp_coarse_mode = 1U;
                            PTP_ServoReset();
                            offset_avg = 0;
                        }
                    }
                    else
                    {
                        if (abs_offset < PTP_PHASE_COARSE_EXIT_NS)
                        {
                            ptp_coarse_mode = 0U;
                            PTP_ServoReset();
                            offset_avg = 0;
                            ptp_phase_holdoff = PTP_PHASE_HOLDOFF_CYCLES;
                        }
                    }

                    if (ptp_coarse_mode != 0U)
                    {
                        int64_t step_mag;

                        /*
                         * Coarse mode must not jump "to zero" directly, otherwise it can overshoot
                         * and bounce around zero forever without ever entering the fine region.
                         *
                         * Instead, move only enough to land near the fine-entry band.
                         */
                        step_mag = abs_offset - (PTP_PHASE_COARSE_EXIT_NS / 2LL);

                        if (step_mag < 0)
                        {
                            step_mag = 0;
                        }

                        if (step_mag > PTP_PHASE_HARD_STEP_LIMIT_NS)
                        {
                            step_mag = PTP_PHASE_HARD_STEP_LIMIT_NS;
                        }

                        if (ptp_offset_e2e > 0)
                        {
                            corr = -step_mag;
                        }
                        else
                        {
                            corr = step_mag;
                        }

                        if ((corr != 0) && (PTP_ApplyTimeUpdateNs(corr) != 0U))
                        {
                            ptp_phase_step_count++;
                            ptp_last_update_ns = corr;
                            PTP_ServoReset();
                            offset_avg = 0;
                        }
                    }
                    else
                    {
                        int64_t abs_offset_avg = PTP_Abs64(offset_avg);

                        if (ptp_phase_holdoff != 0U)
                        {
                            ptp_phase_holdoff--;
                            ptp_phase_capture_count = 0U;
                        }
                        else
                        {
                            /* frequency servo keeps local rate aligned to master */
                            PTP_UpdateFrequencyServo(master_time_now, slave_time_now);

                    #if PTP_ENABLE_FINE_PHASE_CAPTURE
                            /* optional fine phase capture */
                            if ((PTP_Abs64(ptp_freq_err_ppb) < PTP_FINE_PHASE_LOCK_PPB) &&
                                (abs_offset_avg > PTP_FINE_PHASE_CAPTURE_THRESHOLD_NS) &&
                                (abs_offset_avg < PTP_FINE_PHASE_CAPTURE_MAX_NS))
                            {
                                if (ptp_phase_capture_count < 255U)
                                {
                                    ptp_phase_capture_count++;
                                }
                            }
                            else
                            {
                                if ((abs_offset_avg < PTP_FINE_PHASE_CAPTURE_CLEAR_NS) ||
                                    (PTP_Abs64(ptp_freq_err_ppb) >= PTP_FINE_PHASE_LOCK_PPB))
                                {
                                    ptp_phase_capture_count = 0U;
                                }
                            }

                            if (ptp_phase_capture_count >= PTP_FINE_PHASE_CAPTURE_CYCLES)
                            {
                                corr = -(offset_avg * PTP_FINE_PHASE_CAPTURE_NUM) / PTP_FINE_PHASE_CAPTURE_DEN;

                                if (corr > PTP_FINE_PHASE_CAPTURE_LIMIT_NS)
                                {
                                    corr = PTP_FINE_PHASE_CAPTURE_LIMIT_NS;
                                }
                                else if (corr < -PTP_FINE_PHASE_CAPTURE_LIMIT_NS)
                                {
                                    corr = -PTP_FINE_PHASE_CAPTURE_LIMIT_NS;
                                }

                                if ((corr != 0) && (PTP_ApplyTimeUpdateNs(corr) != 0U))
                                {
                                    ptp_last_update_ns = corr;
                                    ptp_phase_step_count++;
                                    ptp_phase_capture_step_count++;
                                    ptp_phase_capture_count = 0U;
                                    offset_avg = 0;
                                    ptp_phase_holdoff = PTP_FINE_PHASE_HOLDOFF_CYCLES;

                                    /* keep learned addend bias, just re-arm frequency estimator */
                                    PTP_FineServoRearm();
                                }
                            }
                    #else
                            ptp_phase_capture_count = 0U;
                            (void)abs_offset_avg;
                    #endif
                        }
                    }
                }
            }
        }
        else
        {
            ptp_delayresp_ignored_count++;
        }

        g_delayresp_evt.pending = 0U;
    }
}

void HAL_ETH_RxAllocateCallback(uint8_t **buff)
{
    static uint32_t idx = 0U;

    *buff = Rx_Buff[idx];

    idx++;
    if (idx >= ETH_RX_DESC_CNT)
    {
        idx = 0U;
    }
}

void HAL_ETH_RxLinkCallback(void **pStart, void **pEnd, uint8_t *buff, uint16_t len)
{
    (void)len;

    if (*pStart == NULL)
    {
        *pStart = buff;
    }
    else
    {
        *(uint8_t **)(*pEnd) = buff;
    }

    *pEnd = buff;
}

void HAL_ETH_TxFreeCallback(uint32_t *buff)
{
    (void)buff;
}

static void PTP_HandleRxFrame(ETH_HandleTypeDef *heth_local, uint8_t *buf)
{
    uint16_t eth_type;
    uint8_t  ptp_message;
    uint16_t ptp_seq_id;
    uint32_t rx_sec;
    uint32_t rx_nsec;
    uint32_t idx;
    ETH_DMADescTypeDef *desc;
    uint32_t *d;
    uint8_t rx_hw_valid = 0U;
    uint32_t rx_hw_sec = 0U;
    uint32_t rx_hw_nsec = 0U;

    eth_type = ((uint16_t)buf[12] << 8) | buf[13];
    rx_sec   = ETH->PTPTSHR;
    rx_nsec  = ETH->PTPTSLR;

    if (eth_type != 0x88F7U)
    {
        return;
    }

    ptp_message = buf[14] & 0x0FU;
    ptp_seq_id  = ((uint16_t)buf[44] << 8) | buf[45];

    idx = heth_local->RxDescList.RxDescIdx;
    idx = (idx == 0U) ? (ETH_RX_DESC_CNT - 1U) : (idx - 1U);

    desc = (ETH_DMADescTypeDef *)heth_local->RxDescList.RxDesc[idx];
    d = (uint32_t *)desc;

    if ((d[6] != 0U) || (d[7] != 0U))
    {
        rx_hw_nsec = d[6];
        rx_hw_sec  = d[7];
        rx_hw_valid = 1U;
    }

    if (ptp_message == PTP_SYNC)
    {
        g_sync_evt.seq_id = ptp_seq_id;

        if (rx_hw_valid != 0U)
        {
            g_sync_evt.sec  = rx_hw_sec;
            g_sync_evt.nsec = rx_hw_nsec;
            sync_rx_ts_valid_count++;
        }
        else
        {
            g_sync_evt.sec  = rx_sec;
            g_sync_evt.nsec = rx_nsec;
        }

        __DMB();
        g_sync_evt.pending = 1U;
    }
    else if (ptp_message == PTP_FOLLOW_UP)
    {
        const uint8_t *ts = &buf[48];

        g_follow_evt.seq_id = ptp_seq_id;
        g_follow_evt.sec    = PTP_ParseSecondsLow32(ts);
        g_follow_evt.nsec   = PTP_ParseNanoseconds(ts);

        __DMB();
        g_follow_evt.pending = 1U;
    }
    else if (ptp_message == PTP_DELAY_RESP)
    {
        const uint8_t *ts = &buf[48];

        if (memcmp(&buf[0], g_slave_mac, 6U) != 0)
        {
            return;
        }

        if (memcmp(&buf[58], g_slave_port_identity, 10U) != 0)
        {
            return;
        }

        g_delayresp_evt.seq_id = ptp_seq_id;
        g_delayresp_evt.sec    = PTP_ParseSecondsLow32(ts);
        g_delayresp_evt.nsec   = PTP_ParseNanoseconds(ts);
        memcpy((void *)g_delayresp_evt.requesting_port_identity, &buf[58], 10U);

        __DMB();
        g_delayresp_evt.pending = 1U;
    }

    HAL_GPIO_TogglePin(LD3_GPIO_Port, LD3_Pin);
}

void HAL_ETH_RxCpltCallback(ETH_HandleTypeDef *heth_local)
{
    while (1)
    {
        uint8_t *buf = NULL;

        if (HAL_ETH_ReadData(heth_local, (void **)&buf) != HAL_OK)
        {
            break;
        }

        if (buf == NULL)
        {
            break;
        }

        PTP_HandleRxFrame(heth_local, buf);
    }
}

static int64_t PTP_Abs64(int64_t v)
{
    return (v < 0) ? -v : v;
}

static int64_t PTP_ScaledToPpb(int64_t scaled_ppb)
{
    if (scaled_ppb >= 0)
    {
        return (scaled_ppb + (PTP_PI_SCALE / 2LL)) / PTP_PI_SCALE;
    }

    return (scaled_ppb - (PTP_PI_SCALE / 2LL)) / PTP_PI_SCALE;
}

static void PTP_ServoReset(void)
{
    ptp_freq_servo_locked   = 0U;
    ptp_master_time_prev    = 0;
    ptp_slave_time_prev     = 0;
    ptp_master_count        = 0;
    ptp_slave_count         = 0;
    ptp_clock_diff          = 0;
    ptp_freq_err_ppb        = 0;
    ptp_last_addend_step    = 0;

    ptp_pi_integral_scaled  = 0;
    ptp_pi_integral_ppb     = 0;
    ptp_pi_prop_ppb         = 0;
    ptp_pi_output_ppb       = 0;

    ptp_phase_holdoff       = 0U;
    ptp_phase_capture_count = 0U;

    ptp_have_good_sample    = 0U;
    ptp_last_sample_rejected = 0U;
}

static void PTP_FineServoRearm(void)
{
    ptp_freq_servo_locked = 0U;
    ptp_master_time_prev  = 0;
    ptp_slave_time_prev   = 0;
    ptp_master_count      = 0;
    ptp_slave_count       = 0;
    ptp_clock_diff        = 0;
    ptp_freq_err_ppb      = 0;
    ptp_last_addend_step  = 0;

    /* keep learned integral/addend bias, only clear instantaneous part */
    ptp_pi_prop_ppb    = 0;
    ptp_pi_integral_ppb = PTP_ScaledToPpb(ptp_pi_integral_scaled);
    ptp_pi_output_ppb  = ptp_pi_integral_ppb;
}

static uint8_t PTP_ApplyAddendFiltered(int64_t delta_addend)
{
    int64_t new_addend;
    int64_t min_addend;
    int64_t max_addend;

    if (delta_addend > PTP_FREQ_ADDEND_STEP_MAX)
    {
        delta_addend = PTP_FREQ_ADDEND_STEP_MAX;
    }
    else if (delta_addend < -PTP_FREQ_ADDEND_STEP_MAX)
    {
        delta_addend = -PTP_FREQ_ADDEND_STEP_MAX;
    }

    min_addend = (int64_t)ptp_default_addend - PTP_FREQ_ADDEND_OFFSET_MAX;
    max_addend = (int64_t)ptp_default_addend + PTP_FREQ_ADDEND_OFFSET_MAX;

    new_addend = (int64_t)ptp_current_addend + delta_addend;

    if (new_addend < min_addend)
    {
        new_addend = min_addend;
    }
    else if (new_addend > max_addend)
    {
        new_addend = max_addend;
    }

    ptp_last_addend_step = delta_addend;

    if ((uint32_t)new_addend == ptp_current_addend)
    {
        return 1U;
    }

    if (PTP_ApplyAddend((uint32_t)new_addend) != 0U)
    {
        ptp_freq_update_count++;
        return 1U;
    }

    return 0U;
}

static void PTP_UpdateFrequencyServo(int64_t master_time_now, int64_t slave_time_now)
{
    int64_t master_count;
    int64_t slave_count;
    int64_t clock_diff;
    int64_t filtered_offset;

    int64_t prop_scaled;
    int64_t integ_inc_scaled;
    int64_t control_scaled;
    int64_t integral_limit_scaled;
    int64_t output_limit_scaled;

    int64_t target_addend;
    int64_t delta_addend;

    if (ptp_freq_servo_locked == 0U)
    {
        ptp_master_time_prev  = master_time_now;
        ptp_slave_time_prev   = slave_time_now;
        ptp_freq_servo_locked = 1U;
        return;
    }

    master_count = master_time_now - ptp_master_time_prev;
    slave_count  = slave_time_now  - ptp_slave_time_prev;

    ptp_master_time_prev = master_time_now;
    ptp_slave_time_prev  = slave_time_now;

    if ((master_count < PTP_FREQ_MIN_CYCLE_NS) || (slave_count < PTP_FREQ_MIN_CYCLE_NS))
    {
        return;
    }

    if (slave_count <= 0)
    {
        return;
    }

    clock_diff = master_count - slave_count;

    ptp_master_count = master_count;
    ptp_slave_count  = slave_count;
    ptp_clock_diff   = clock_diff;
    ptp_freq_err_ppb = (clock_diff * 1000000000LL) / slave_count;

    filtered_offset = offset_avg;
    if (PTP_Abs64(filtered_offset) < PTP_PI_OFFSET_DEADBAND_NS)
    {
        filtered_offset = 0;
    }

    /*
     * PI controller in scaled ppb domain.
     * Positive offset => slave is ahead => slow it down.
     */
    prop_scaled =
        -((filtered_offset * PTP_PI_KP_NUM * PTP_PI_SCALE) / PTP_PI_KP_DEN);

    integ_inc_scaled =
        -((filtered_offset * PTP_PI_KI_NUM * master_count * PTP_PI_SCALE) /
          (PTP_PI_KI_DEN * PTP_PI_NOMINAL_CYCLE_NS));

    ptp_pi_integral_scaled += integ_inc_scaled;

    integral_limit_scaled = PTP_PI_INTEGRAL_LIMIT_PPB * PTP_PI_SCALE;
    if (ptp_pi_integral_scaled > integral_limit_scaled)
    {
        ptp_pi_integral_scaled = integral_limit_scaled;
    }
    else if (ptp_pi_integral_scaled < -integral_limit_scaled)
    {
        ptp_pi_integral_scaled = -integral_limit_scaled;
    }

    control_scaled = prop_scaled + ptp_pi_integral_scaled;

    output_limit_scaled = PTP_PI_OUTPUT_LIMIT_PPB * PTP_PI_SCALE;
    if (control_scaled > output_limit_scaled)
    {
        control_scaled = output_limit_scaled;
    }
    else if (control_scaled < -output_limit_scaled)
    {
        control_scaled = -output_limit_scaled;
    }

    ptp_pi_prop_ppb     = PTP_ScaledToPpb(prop_scaled);
    ptp_pi_integral_ppb = PTP_ScaledToPpb(ptp_pi_integral_scaled);
    ptp_pi_output_ppb   = PTP_ScaledToPpb(control_scaled);

    target_addend =
        (int64_t)ptp_default_addend +
        (((int64_t)ptp_default_addend * control_scaled) /
         (1000000000LL * PTP_PI_SCALE));

    delta_addend = target_addend - (int64_t)ptp_current_addend;
    (void)PTP_ApplyAddendFiltered(delta_addend);
}

static void PTP_LogSampleIfReady(void)
{
    int len;

    if (delayresp_count == ptp_last_logged_delayresp)
    {
        return;
    }

    ptp_last_logged_delayresp = delayresp_count;

    len = snprintf(
        ptp_log_buf,
        sizeof(ptp_log_buf),
		"DATA,%lu,%ld,%ld,%ld,%ld,%ld,%lu,%ld,%lu,%lu,%lu,%u,%lu,%lu,%lu,%lu,%ld,%ld,%ld,%u,%lu,%lu,%lu,%lu,%lu,%lu\r\n",
        (unsigned long)delayresp_count,
        (long)ptp_offset_ns,
        (long)ptp_raw_offset_e2e,
        (long)offset_avg,
        (long)mean_path_delay,
        (long)ptp_freq_err_ppb,
        (unsigned long)ptp_current_addend,
        (long)ptp_last_addend_step,
        (unsigned long)ptp_phase_step_count,
        (unsigned long)ptp_phase_capture_step_count,
        (unsigned long)ptp_freq_update_count,
        (unsigned int)ptp_coarse_mode,
		(unsigned long)sync_rx_ts_valid_count,
		(unsigned long)tx_ts_seen,
		(unsigned long)ptp_delayreq_timeout_count,
		(unsigned long)ptp_delayresp_ignored_count,
		(long)ptp_pi_prop_ppb,
        (long)ptp_pi_integral_ppb,
        (long)ptp_pi_output_ppb,
        (unsigned int)ptp_last_sample_rejected,
        (unsigned long)ptp_rejected_sample_count,
        (unsigned long)ptp_reject_mpd_count,
        (unsigned long)ptp_reject_abs_offset_count,
        (unsigned long)ptp_reject_jump_count,
		(unsigned long)ptp_consecutive_reject_count,
		(unsigned long)ptp_resync_count
    );

    if (len > 0)
    {
        HAL_UART_Transmit(&huart3, (uint8_t *)ptp_log_buf, (uint16_t)len, 50);
    }
}

static void APP_RunCpuLoad(void)
{
#if APP_CPU_LOAD_ENABLE
    uint32_t now;
    uint32_t i;
    uint32_t x;

    now = HAL_GetTick();

    if ((uint32_t)(now - app_cpu_load_last_ms) < APP_CPU_LOAD_PERIOD_MS)
    {
        return;
    }

    app_cpu_load_last_ms = now;

    /*
     * Bounded dummy CPU work.
     * No DWT.
     * No infinite waiting.
     * Interrupts remain enabled.
     */
    x = app_cpu_load_sink;

    for (i = 0U; i < APP_CPU_LOAD_WORK_ITERATIONS; i++)
    {
        x = x * 1664525UL + 1013904223UL;
        x ^= (x >> 16);
        x += i;
    }

    app_cpu_load_sink = x;

    if (app_cpu_load_run_count < 0xFFFFFFFFUL)
    {
        app_cpu_load_run_count++;
    }
#endif
}
/* USER CODE END 0 */

int main(void)
{

  /* MCU Configuration--------------------------------------------------------*/

  /* Reset of all peripherals, Initializes the Flash interface and the Systick. */
  HAL_Init();

  /* Configure the system clock */
  SystemClock_Config();

  /* Initialize all configured peripherals */
  MX_GPIO_Init();
  MX_DMA_Init();
  MX_ETH_Init();
  MX_USART3_UART_Init();
  MX_USB_OTG_FS_PCD_Init();

  /* Init scheduler */
  osKernelInitialize();

  /* Create the thread(s) */
  /* creation of PTP_Task */
  PTP_TaskHandle = osThreadNew(StartPTPTask, NULL, &PTP_Task_attributes);

  /* creation of Log_Task */
  Log_TaskHandle = osThreadNew(StartLogTask, NULL, &Log_Task_attributes);

  /* Start scheduler */
  osKernelStart();

  /* We should never get here as control is now taken by the scheduler */

  /* Infinite loop */
  while (1)
  {

  }
}

void SystemClock_Config(void)
{
  RCC_OscInitTypeDef RCC_OscInitStruct = {0};
  RCC_ClkInitTypeDef RCC_ClkInitStruct = {0};

  /** Configure LSE Drive Capability
  */
  HAL_PWR_EnableBkUpAccess();

  /** Configure the main internal regulator output voltage
  */
  __HAL_RCC_PWR_CLK_ENABLE();
  __HAL_PWR_VOLTAGESCALING_CONFIG(PWR_REGULATOR_VOLTAGE_SCALE1);

  /** Initializes the RCC Oscillators according to the specified parameters
  * in the RCC_OscInitTypeDef structure.
  */
  RCC_OscInitStruct.OscillatorType = RCC_OSCILLATORTYPE_HSE;
  RCC_OscInitStruct.HSEState = RCC_HSE_BYPASS;
  RCC_OscInitStruct.PLL.PLLState = RCC_PLL_ON;
  RCC_OscInitStruct.PLL.PLLSource = RCC_PLLSOURCE_HSE;
  RCC_OscInitStruct.PLL.PLLM = 4;
  RCC_OscInitStruct.PLL.PLLN = 216;
  RCC_OscInitStruct.PLL.PLLP = RCC_PLLP_DIV2;
  RCC_OscInitStruct.PLL.PLLQ = 9;
  RCC_OscInitStruct.PLL.PLLR = 2;
  if (HAL_RCC_OscConfig(&RCC_OscInitStruct) != HAL_OK)
  {
    Error_Handler();
  }

  /** Activate the Over-Drive mode
  */
  if (HAL_PWREx_EnableOverDrive() != HAL_OK)
  {
    Error_Handler();
  }

  /** Initializes the CPU, AHB and APB buses clocks
  */
  RCC_ClkInitStruct.ClockType = RCC_CLOCKTYPE_HCLK|RCC_CLOCKTYPE_SYSCLK
                              |RCC_CLOCKTYPE_PCLK1|RCC_CLOCKTYPE_PCLK2;
  RCC_ClkInitStruct.SYSCLKSource = RCC_SYSCLKSOURCE_PLLCLK;
  RCC_ClkInitStruct.AHBCLKDivider = RCC_SYSCLK_DIV1;
  RCC_ClkInitStruct.APB1CLKDivider = RCC_HCLK_DIV4;
  RCC_ClkInitStruct.APB2CLKDivider = RCC_HCLK_DIV2;

  if (HAL_RCC_ClockConfig(&RCC_ClkInitStruct, FLASH_LATENCY_7) != HAL_OK)
  {
    Error_Handler();
  }
}

static void MX_ETH_Init(void)
{

   static uint8_t MACAddr[6];

  heth.Instance = ETH;
  MACAddr[0] = 0x00;
  MACAddr[1] = 0x80;
  MACAddr[2] = 0xE1;
  MACAddr[3] = 0x00;
  MACAddr[4] = 0x00;
  MACAddr[5] = 0x00;
  heth.Init.MACAddr = &MACAddr[0];
  heth.Init.MediaInterface = HAL_ETH_RMII_MODE;
  heth.Init.TxDesc = DMATxDscrTab;
  heth.Init.RxDesc = DMARxDscrTab;
  heth.Init.RxBuffLen = 1524;

  /* USER CODE BEGIN MACADDRESS */
  memcpy(MACAddr, g_slave_mac, 6U);
  /* USER CODE END MACADDRESS */

  if (HAL_ETH_Init(&heth) != HAL_OK)
  {
    Error_Handler();
  }

  memset(&TxConfig, 0 , sizeof(ETH_TxPacketConfig));
  TxConfig.Attributes = ETH_TX_PACKETS_FEATURES_CSUM | ETH_TX_PACKETS_FEATURES_CRCPAD;
  TxConfig.ChecksumCtrl = ETH_CHECKSUM_IPHDR_PAYLOAD_INSERT_PHDR_CALC;
  TxConfig.CRCPadCtrl = ETH_CRC_PAD_INSERT;

}

static void MX_USART3_UART_Init(void)
{

  huart3.Instance = USART3;
  huart3.Init.BaudRate = 115200;
  huart3.Init.WordLength = UART_WORDLENGTH_8B;
  huart3.Init.StopBits = UART_STOPBITS_1;
  huart3.Init.Parity = UART_PARITY_NONE;
  huart3.Init.Mode = UART_MODE_TX_RX;
  huart3.Init.HwFlowCtl = UART_HWCONTROL_NONE;
  huart3.Init.OverSampling = UART_OVERSAMPLING_16;
  huart3.Init.OneBitSampling = UART_ONE_BIT_SAMPLE_DISABLE;
  huart3.AdvancedInit.AdvFeatureInit = UART_ADVFEATURE_NO_INIT;
  if (HAL_UART_Init(&huart3) != HAL_OK)
  {
    Error_Handler();
  }

}

static void MX_USB_OTG_FS_PCD_Init(void)
{

  hpcd_USB_OTG_FS.Instance = USB_OTG_FS;
  hpcd_USB_OTG_FS.Init.dev_endpoints = 6;
  hpcd_USB_OTG_FS.Init.speed = PCD_SPEED_FULL;
  hpcd_USB_OTG_FS.Init.dma_enable = DISABLE;
  hpcd_USB_OTG_FS.Init.phy_itface = PCD_PHY_EMBEDDED;
  hpcd_USB_OTG_FS.Init.Sof_enable = ENABLE;
  hpcd_USB_OTG_FS.Init.low_power_enable = DISABLE;
  hpcd_USB_OTG_FS.Init.lpm_enable = DISABLE;
  hpcd_USB_OTG_FS.Init.vbus_sensing_enable = ENABLE;
  hpcd_USB_OTG_FS.Init.use_dedicated_ep1 = DISABLE;
  if (HAL_PCD_Init(&hpcd_USB_OTG_FS) != HAL_OK)
  {
    Error_Handler();
  }

}

static void MX_DMA_Init(void)
{

  /* DMA controller clock enable */
  __HAL_RCC_DMA1_CLK_ENABLE();

  /* DMA interrupt init */
  /* DMA1_Stream1_IRQn interrupt configuration */
  HAL_NVIC_SetPriority(DMA1_Stream1_IRQn, 5, 0);
  HAL_NVIC_EnableIRQ(DMA1_Stream1_IRQn);
  /* DMA1_Stream3_IRQn interrupt configuration */
  HAL_NVIC_SetPriority(DMA1_Stream3_IRQn, 5, 0);
  HAL_NVIC_EnableIRQ(DMA1_Stream3_IRQn);

}

static void MX_GPIO_Init(void)
{
  GPIO_InitTypeDef GPIO_InitStruct = {0};

  /* GPIO Ports Clock Enable */
  __HAL_RCC_GPIOC_CLK_ENABLE();
  __HAL_RCC_GPIOH_CLK_ENABLE();
  __HAL_RCC_GPIOA_CLK_ENABLE();
  __HAL_RCC_GPIOB_CLK_ENABLE();
  __HAL_RCC_GPIOD_CLK_ENABLE();
  __HAL_RCC_GPIOG_CLK_ENABLE();

  /*Configure GPIO pin Output Level */
  HAL_GPIO_WritePin(GPIOB, LD1_Pin|LD3_Pin|LD2_Pin, GPIO_PIN_RESET);

  /*Configure GPIO pin Output Level */
  HAL_GPIO_WritePin(USB_PowerSwitchOn_GPIO_Port, USB_PowerSwitchOn_Pin, GPIO_PIN_RESET);

  /*Configure GPIO pin : USER_Btn_Pin */
  GPIO_InitStruct.Pin = USER_Btn_Pin;
  GPIO_InitStruct.Mode = GPIO_MODE_IT_RISING;
  GPIO_InitStruct.Pull = GPIO_NOPULL;
  HAL_GPIO_Init(USER_Btn_GPIO_Port, &GPIO_InitStruct);

  /*Configure GPIO pins : LD1_Pin LD3_Pin LD2_Pin */
  GPIO_InitStruct.Pin = LD1_Pin|LD3_Pin|LD2_Pin;
  GPIO_InitStruct.Mode = GPIO_MODE_OUTPUT_PP;
  GPIO_InitStruct.Pull = GPIO_NOPULL;
  GPIO_InitStruct.Speed = GPIO_SPEED_FREQ_LOW;
  HAL_GPIO_Init(GPIOB, &GPIO_InitStruct);

  /*Configure GPIO pin : USB_PowerSwitchOn_Pin */
  GPIO_InitStruct.Pin = USB_PowerSwitchOn_Pin;
  GPIO_InitStruct.Mode = GPIO_MODE_OUTPUT_PP;
  GPIO_InitStruct.Pull = GPIO_NOPULL;
  GPIO_InitStruct.Speed = GPIO_SPEED_FREQ_LOW;
  HAL_GPIO_Init(USB_PowerSwitchOn_GPIO_Port, &GPIO_InitStruct);

  /*Configure GPIO pin : USB_OverCurrent_Pin */
  GPIO_InitStruct.Pin = USB_OverCurrent_Pin;
  GPIO_InitStruct.Mode = GPIO_MODE_INPUT;
  GPIO_InitStruct.Pull = GPIO_NOPULL;
  HAL_GPIO_Init(USB_OverCurrent_GPIO_Port, &GPIO_InitStruct);

}

/* USER CODE BEGIN 4 */
void vApplicationMallocFailedHook(void)
{
  /* USER CODE BEGIN vApplicationMallocFailedHook */

  taskDISABLE_INTERRUPTS();

  while (1)
  {
      HAL_GPIO_TogglePin(LD2_GPIO_Port, LD2_Pin);
      for (volatile uint32_t i = 0; i < 1000000; i++) {}
  }

  /* USER CODE END vApplicationMallocFailedHook */
}
/* USER CODE END 4 */

void StartPTPTask(void *argument)
{
  /* USER CODE BEGIN 5 */
  /* Infinite loop */

	  HAL_ETH_RegisterRxAllocateCallback(&heth, HAL_ETH_RxAllocateCallback);
	  HAL_ETH_RegisterRxLinkCallback(&heth, HAL_ETH_RxLinkCallback);
	  HAL_ETH_RegisterTxFreeCallback(&heth, HAL_ETH_TxFreeCallback);

	  HAL_NVIC_SetPriority(ETH_IRQn, 5, 0);
	  HAL_NVIC_EnableIRQ(ETH_IRQn);

	  HAL_ETH_Start_IT(&heth);
	  __HAL_ETH_DMA_ENABLE_IT(&heth, ETH_DMA_IT_T);

	  PTP_HW_Init();
	  ETH->PTPPPSCR = 0x0U;   /* 1 Hz PPS */

	  const char *hdr =
	      "FMT,sample,offset_ns,raw_offset_ns,offset_avg_ns,mean_path_delay_ns,freq_err_ppb,current_addend,last_addend_step,phase_step_count,phase_capture_step_count,freq_update_count,coarse_mode,sync_rx_ts_valid_count,tx_ts_seen,delayreq_timeout_count,delayresp_ignored_count,pi_prop_ppb,pi_integral_ppb,pi_output_ppb,last_sample_rejected,rejected_sample_count,reject_mpd_count,reject_abs_offset_count,reject_jump_count,consecutive_reject_count,resync_count\r\n";

	  HAL_UART_Transmit(&huart3, (uint8_t *)hdr, (uint16_t)strlen(hdr), 100);

	  for (;;)
	  {
	      sec = ETH->PTPTSHR;
	      nsec = ETH->PTPTSLR;

	      (void)PTP_TryReadTxTimestamp();
	      PTP_CheckDelayReqTimeout();
	      HAL_ETH_ReleaseTxPacket(&heth);
	      PTP_Process();
	      PTP_LogSampleIfReady();

	      osDelay(1);
	  }
  /* USER CODE END 5 */
}

void StartLogTask(void *argument)
{
  /* USER CODE BEGIN StartLogTask */
  /* Infinite loop */
  for(;;)
  {
    osDelay(1000);
  }
  /* USER CODE END StartLogTask */
}

void HAL_TIM_PeriodElapsedCallback(TIM_HandleTypeDef *htim)
{
  if (htim->Instance == TIM6)
  {
    HAL_IncTick();
  }
}

void Error_Handler(void)
{
  __disable_irq();
  while (1)
  {
  }
}

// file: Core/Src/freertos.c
/* USER CODE BEGIN Header */
/**
  ******************************************************************************
  * File Name          : freertos.c
  * Description        : Code for freertos applications
  ******************************************************************************
  * @attention
  *
  * Copyright (c) 2026 STMicroelectronics.
  * All rights reserved.
  *
  * This software is licensed under terms that can be found in the LICENSE file
  * in the root directory of this software component.
  * If no LICENSE file comes with this software, it is provided AS-IS.
  *
  ******************************************************************************
  */
/* USER CODE END Header */

#include "FreeRTOS.h"
#include "task.h"
#include "main.h"

/* Hook prototypes */
void vApplicationStackOverflowHook(xTaskHandle xTask, signed char *pcTaskName);

/* USER CODE BEGIN 4 */
void vApplicationStackOverflowHook(xTaskHandle xTask, signed char *pcTaskName)
{
	  (void)xTask;
	  (void)pcTaskName;

	  taskDISABLE_INTERRUPTS();

	  while (1)
	  {
	      HAL_GPIO_TogglePin(LD1_GPIO_Port, LD1_Pin);
	      for (volatile uint32_t i = 0; i < 1000000; i++) {}
	  }

   /* Run time stack overflow checking is performed if
   configCHECK_FOR_STACK_OVERFLOW is defined to 1 or 2. This hook function is
   called if a stack overflow is detected. */
}
/* USER CODE END 4 */
